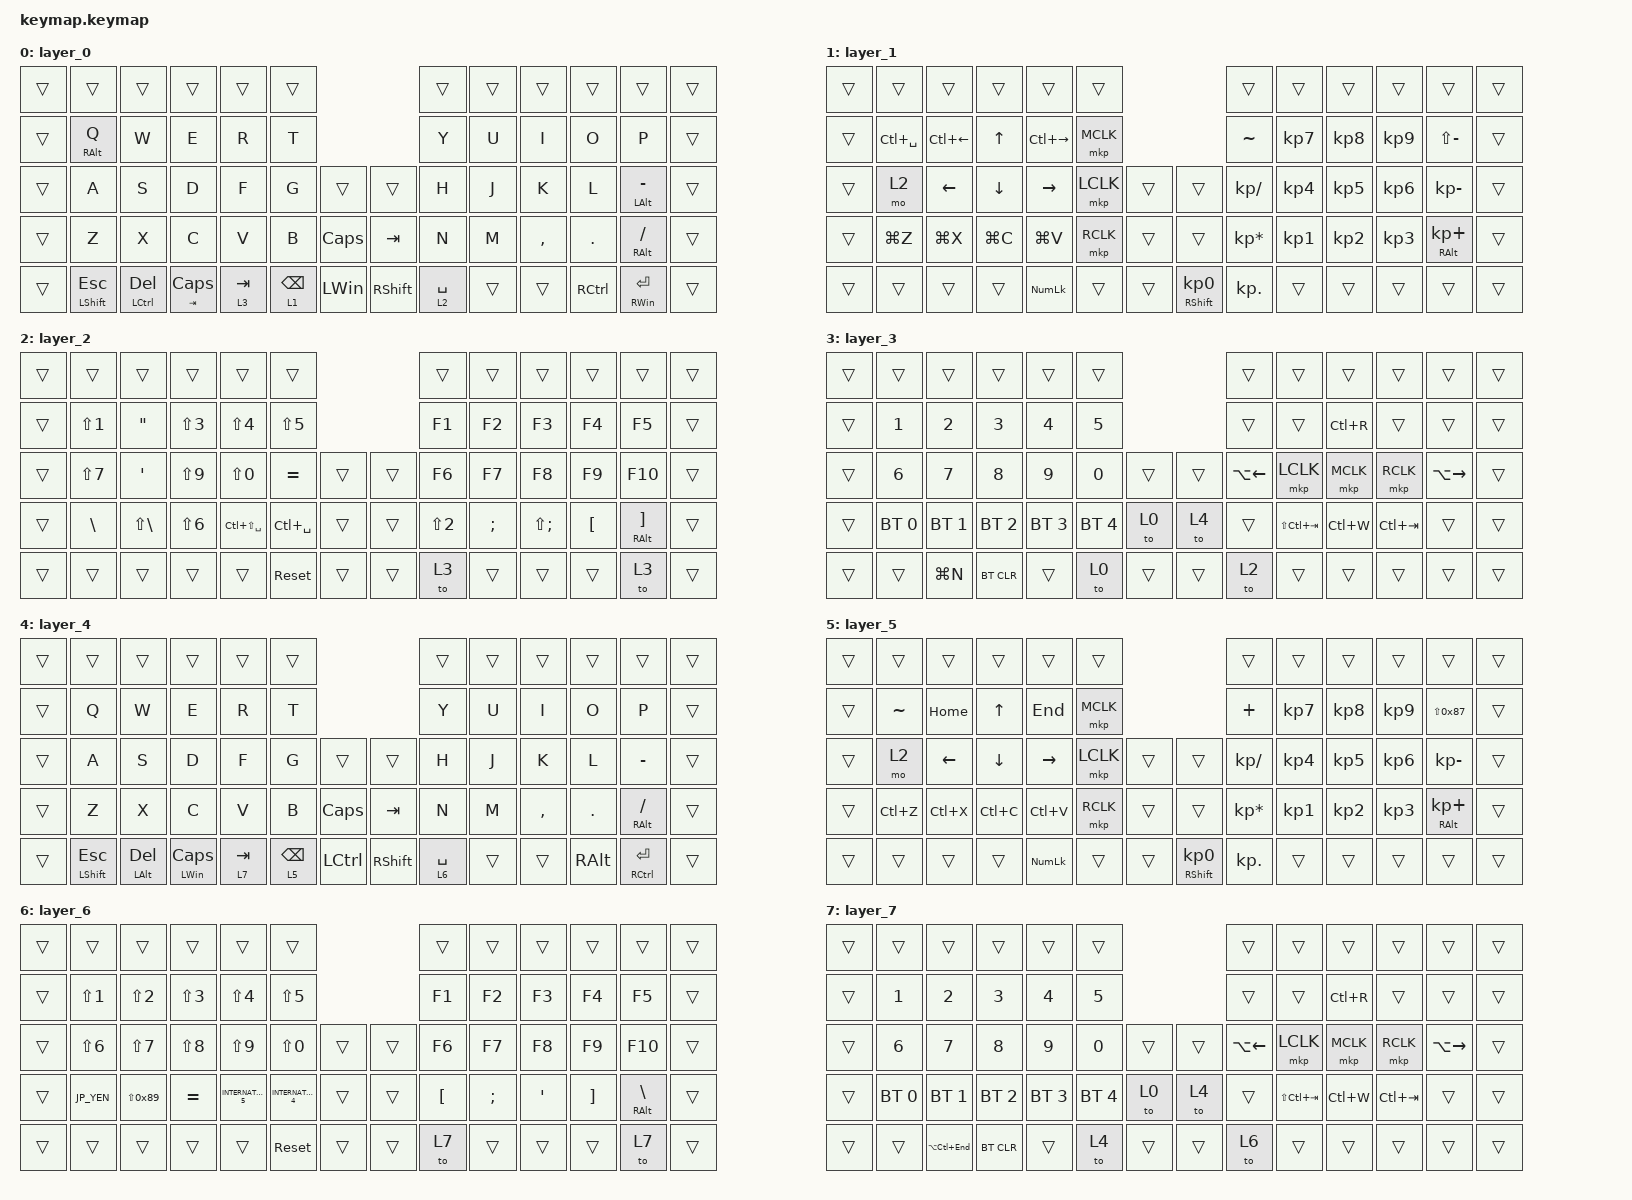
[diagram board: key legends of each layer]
#include <input/processors.dtsi>
#include <behaviors.dtsi>
#include <dt-bindings/zmk/bt.h>
#include <dt-bindings/zmk/keys.h>
#include <dt-bindings/zmk/outputs.h>
#include <dt-bindings/zmk/pointing.h>

// OS設定を日本語キーボードのまま使用するための変換定義

#define JP_DQUOTE       AT                // "
#define JP_AMPERSAND    CARET             // &
#define JP_QUOTE        AMPERSAND         // '
#define JP_EQUAL        UNDER             // =
#define JP_CARET        EQUAL             // ^
#define JP_YEN          0x89              // ¥
#define JP_PLUS         COLON             // +
#define JP_TILDE        PLUS              // ~
#define JP_PIPE         LS(0x89)          // |
#define JP_AT           LEFT_BRACKET      // @
#define JP_COLON        SINGLE_QUOTE      // :
#define JP_ASTERISK     DOUBLE_QUOTES     // *
#define JP_BACKQUOTE    LEFT_BRACE        // `
#define JP_UNDERSCORE   LS(0x87)          // _
#define JP_LBRACKET     RIGHT_BRACKET     // [
#define JP_RBRACKET     BACKSLASH         // ]
#define JP_LPAREN       ASTERISK          // (
#define JP_RPAREN       LEFT_PARENTHESIS  // )
#define JP_LBRACE       RIGHT_BRACE       // {
#define JP_RBRACE       PIPE              // }
#define JP_KANA         LANGUAGE_1        // かな
#define JP_EISU         LANGUAGE_2        // 英数
#define JP_HANZEN       GRAVE             // 半角/全角

/ {
    combos {
        compatible = "zmk,combos";

        bt_clear {
            bindings = <&bt BT_CLR>;
            key-positions = <28 29>;
            layers = <2>;
        };
    };

    keymap {
        compatible = "zmk,keymap";

        layer_0 {
            bindings = <
&trans  &trans             &trans            &trans        &trans     &trans                                     &trans       &trans  &trans     &trans     &trans               &trans
&trans  &mt RALT Q         &kp W             &kp E         &kp R      &kp T                                      &kp Y        &kp U   &kp I      &kp O      &kp P                &trans
&trans  &kp A              &kp S             &kp D         &kp F      &kp G            &trans        &trans      &kp H        &kp J   &kp K      &kp L      &mt LEFT_ALT MINUS   &trans
&trans  &kp Z              &kp X             &kp C         &kp V      &kp B            &kp CAPS      &kp TAB     &kp N        &kp M   &kp COMMA  &kp DOT    &mt RIGHT_ALT FSLH   &trans
&trans  &mt LSHIFT ESCAPE  &mt LCTRL DELETE  &mt TAB CAPS  &lt 3 TAB  &lt 1 BACKSPACE  &kp LEFT_WIN  &kp RSHIFT  &lt 2 SPACE  &trans  &trans     &kp RCTRL  &mt RIGHT_WIN ENTER  &trans
            >;
        };

        layer_1 {
            bindings = <
&trans  &trans         &trans              &trans          &trans           &trans                                          &trans           &trans           &trans           &trans           &trans                 &trans
&trans  &kp LC(SPACE)  &kp LC(LEFT_ARROW)  &kp UP_ARROW    &kp LC(RIGHT)    &mkp MCLK                                       &kp TILDE        &kp KP_NUMBER_7  &kp KP_NUMBER_8  &kp KP_NUMBER_9  &kp LS(MINUS)          &trans
&trans  &mo 2          &kp LEFT_ARROW      &kp DOWN_ARROW  &kp RIGHT_ARROW  &mkp LCLK  &trans  &trans                       &kp KP_DIVIDE    &kp KP_NUMBER_4  &kp KP_NUMBER_5  &kp KP_NUMBER_6  &kp KP_MINUS           &trans
&trans  &kp LG(Z)      &kp LG(X)           &kp LG(C)       &kp LG(V)        &mkp RCLK  &trans  &trans                       &kp KP_ASTERISK  &kp KP_NUMBER_1  &kp KP_NUMBER_2  &kp KP_NUMBER_3  &mt RIGHT_ALT KP_PLUS  &trans
&trans  &trans         &trans              &trans          &kp KP_NUMLOCK   &trans     &trans  &mt RIGHT_SHIFT KP_NUMBER_0  &kp KP_DOT       &trans           &trans           &trans           &trans                 &trans
            >;
        };

        layer_2 {
            bindings = <
&trans  &trans            &trans             &trans            &trans             &trans                         &trans      &trans    &trans             &trans            &trans                       &trans
&trans  &kp LS(NUMBER_1)  &kp DOUBLE_QUOTES  &kp LS(N3)        &kp LS(N4)         &kp LS(N5)                     &kp F1      &kp F2    &kp F3             &kp F4            &kp F5                       &trans
&trans  &kp LS(N7)        &kp SINGLE_QUOTE   &kp LS(N9)        &kp LS(N0)         &kp EQUAL      &trans  &trans  &kp F6      &kp F7    &kp F8             &kp F9            &kp F10                      &trans
&trans  &kp BACKSLASH     &kp LS(BACKSLASH)  &kp LS(NUMBER_6)  &kp LC(LS(SPACE))  &kp LC(SPACE)  &trans  &trans  &kp LS(N2)  &kp SEMI  &kp LS(SEMICOLON)  &kp LEFT_BRACKET  &mt RIGHT_ALT RIGHT_BRACKET  &trans
&trans  &trans            &trans             &trans            &trans             &sys_reset     &trans  &trans  &to 3       &trans    &trans             &trans            &to 3                        &trans
            >;
        };

        layer_3 {
            bindings = <
&trans  &trans        &trans        &trans        &trans        &trans                        &trans              &trans           &trans     &trans       &trans         &trans
&trans  &kp N1        &kp N2        &kp N3        &kp N4        &kp N5                        &trans              &trans           &kp LC(R)  &trans       &trans         &trans
&trans  &kp N6        &kp N7        &kp N8        &kp N9        &kp N0        &trans  &trans  &kp LA(LEFT_ARROW)  &mkp LCLK        &mkp MCLK  &mkp RCLK    &kp LA(RIGHT)  &trans
&trans  &bt BT_SEL 0  &bt BT_SEL 1  &bt BT_SEL 2  &bt BT_SEL 3  &bt BT_SEL 4  &to 0   &to 4   &trans              &kp LS(LC(TAB))  &kp LC(W)  &kp LC(TAB)  &trans         &trans
&trans  &trans        &kp LG(N)     &bt BT_CLR    &trans        &to 0         &trans  &trans  &to 2               &trans           &trans     &trans       &trans         &trans
            >;
        };

        layer_4 {
            bindings = <
&trans  &trans             &trans           &trans             &trans     &trans                                  &trans       &trans  &trans     &trans    &trans              &trans
&trans  &kp Q              &kp W            &kp E              &kp R      &kp T                                   &kp Y        &kp U   &kp I      &kp O     &kp P               &trans
&trans  &kp A              &kp S            &kp D              &kp F      &kp G            &trans     &trans      &kp H        &kp J   &kp K      &kp L     &kp MINUS           &trans
&trans  &kp Z              &kp X            &kp C              &kp V      &kp B            &kp CAPS   &kp TAB     &kp N        &kp M   &kp COMMA  &kp DOT   &mt RIGHT_ALT FSLH  &trans
&trans  &mt LSHIFT ESCAPE  &mt LALT DELETE  &mt LEFT_WIN CAPS  &lt 7 TAB  &lt 5 BACKSPACE  &kp LCTRL  &kp RSHIFT  &lt 6 SPACE  &trans  &trans     &kp RALT  &mt RCTRL ENTER     &trans
            >;
        };

        layer_5 {
            bindings = <
&trans  &trans     &trans          &trans          &trans           &trans                                          &trans           &trans           &trans           &trans           &trans                 &trans
&trans  &kp TILDE  &kp HOME        &kp UP_ARROW    &kp END          &mkp MCLK                                       &kp JP_TILDE     &kp KP_NUMBER_7  &kp KP_NUMBER_8  &kp KP_NUMBER_9  &kp JP_UNDERSCORE      &trans
&trans  &mo 2      &kp LEFT_ARROW  &kp DOWN_ARROW  &kp RIGHT_ARROW  &mkp LCLK  &trans  &trans                       &kp KP_DIVIDE    &kp KP_NUMBER_4  &kp KP_NUMBER_5  &kp KP_NUMBER_6  &kp KP_MINUS           &trans
&trans  &kp LC(Z)  &kp LC(X)       &kp LC(C)       &kp LC(V)        &mkp RCLK  &trans  &trans                       &kp KP_ASTERISK  &kp KP_NUMBER_1  &kp KP_NUMBER_2  &kp KP_NUMBER_3  &mt RIGHT_ALT KP_PLUS  &trans
&trans  &trans     &trans          &trans          &kp KP_NUMLOCK   &trans     &trans  &mt RIGHT_SHIFT KP_NUMBER_0  &kp KP_DOT       &trans           &trans           &trans           &trans                 &trans
            >;
        };

        layer_6 {
            bindings = <
&trans  &trans            &trans            &trans        &trans               &trans                               &trans    &trans    &trans    &trans    &trans              &trans
&trans  &kp LS(NUMBER_1)  &kp LS(NUMBER_2)  &kp LS(N3)    &kp LS(N4)           &kp LS(N5)                           &kp F1    &kp F2    &kp F3    &kp F4    &kp F5              &trans
&trans  &kp LS(N6)        &kp LS(N7)        &kp LS(N8)    &kp LS(N9)           &kp LS(N0)           &trans  &trans  &kp F6    &kp F7    &kp F8    &kp F9    &kp F10             &trans
&trans  &kp JP_YEN        &kp JP_PIPE       &kp JP_CARET  &kp INTERNATIONAL_5  &kp INTERNATIONAL_4  &trans  &trans  &kp LBKT  &kp SEMI  &kp APOS  &kp RBKT  &mt RIGHT_ALT BSLH  &trans
&trans  &trans            &trans            &trans        &trans               &sys_reset           &trans  &trans  &to 7     &trans    &trans    &trans    &to 7               &trans
            >;
        };

        layer_7 {
            bindings = <
&trans  &trans        &trans           &trans        &trans        &trans                        &trans        &trans           &trans     &trans       &trans         &trans
&trans  &kp N1        &kp N2           &kp N3        &kp N4        &kp N5                        &trans        &trans           &kp LC(R)  &trans       &trans         &trans
&trans  &kp N6        &kp N7           &kp N8        &kp N9        &kp N0        &trans  &trans  &kp LA(LEFT)  &mkp LCLK        &mkp MCLK  &mkp RCLK    &kp LA(RIGHT)  &trans
&trans  &bt BT_SEL 0  &bt BT_SEL 1     &bt BT_SEL 2  &bt BT_SEL 3  &bt BT_SEL 4  &to 0   &to 4   &trans        &kp LS(LC(TAB))  &kp LC(W)  &kp LC(TAB)  &trans         &trans
&trans  &trans        &kp LA(LC(END))  &bt BT_CLR    &trans        &to 4         &trans  &trans  &to 6         &trans           &trans     &trans       &trans         &trans
            >;
        };
    };
};
